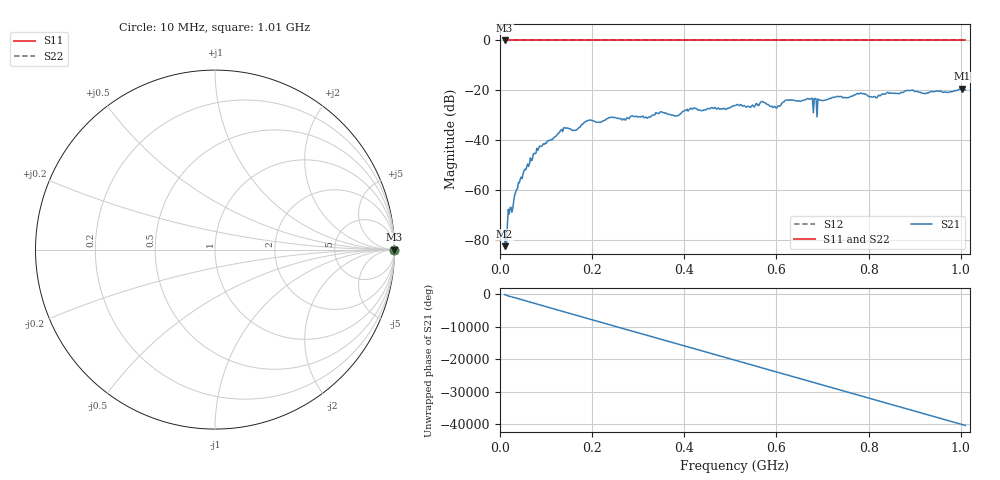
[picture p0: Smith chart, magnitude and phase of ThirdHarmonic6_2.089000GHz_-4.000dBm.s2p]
! 8/17/2025 1:00:07 AM
! C:\ANRITSUVNA\TEMP\TEMP.S2P
! CHANNEL.1
! TR.MEASUREMENT
! RAW.DATA
! RF.CORRECTION.OFF
! AVERAGING.OFF
! IF.BANDWIDTH: 5KHZ
! SWEEPTYPE:  FREQ.SWEEP(Linear)
! Reference Plane Port Info
! PORT:  PORT1  PORT2
! DISTANCE:  0  m  0  m
! TIME:  0  s  0  s
! PHASE.OFFSET:  0  deg.  0  deg.
! LOSS:  0  dB  0  dB
! REF.LOSS:  0  dB  0  dB
! REF.FREQ:  0  Hz  0  Hz
! Power Info
! POWER:  -20  dBm  -20  dBm
! EFF.POWER:  -20  dBm  -20  dBm
! SOURCE.ATTEN:  0  dB  0  dB
! TEST.ATTEN:  0  dB  0  dB
# GHZ S RI R 50.0
! FREQ.GHZ  S11RE  S11IM  S21RE  S21IM  S12RE  S12IM  S22RE  S22IM
!; PortSelection: Port_12
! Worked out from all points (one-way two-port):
!   501 points, 10 MHz to 1.01 GHz, reference 50 ohm
!   highest |S21| = -19.41 dB at 1.002 GHz (marker M1); lowest = -82.6 dB at 10 MHz (marker M2)
!   lowest |S11| = 0.0 dB at 10 MHz (marker M3)
!   |S11| at or under -10 dB: nowhere
!   |S22| runs from 0.0 to 0.0 dB; largest |S21 - S12| = 1.1
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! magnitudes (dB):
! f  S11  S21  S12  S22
! 10 MHz  0.0  -82.6  0.0  0.0
! 20 MHz  0.0  -69.7  0.0  0.0
! 28 MHz  0.0  -67.1  0.0  0.0
! 36 MHz  0.0  -59.8  0.0  0.0
! 76 MHz  0.0  -45.5  0.0  0.0
! 136 MHz  0.0  -36.6  0.0  0.0
! 162 MHz  0.0  -36.0  0.0  0.0
! 178 MHz  0.0  -33.7  0.0  0.0
! 344 MHz  0.0  -29.3  0.0  0.0
! 384 MHz  0.0  -30.2  0.0  0.0
! 418 MHz  0.0  -27.6  0.0  0.0
! 510 MHz  0.0  -26.1  0.0  0.0
! 570 MHz  0.0  -24.5  0.0  0.0
! 596 MHz  0.0  -26.4  0.0  0.0
! 624 MHz  0.0  -23.9  0.0  0.0
! 678 MHz  0.0  -23.3  0.0  0.0
! 684 MHz  0.0  -23.3  0.0  0.0
! 694 MHz  0.0  -23.9  0.0  0.0
! 730 MHz  0.0  -22.6  0.0  0.0
! 844 MHz  0.0  -21.1  0.0  0.0
! 1.002 GHz  0.0  -19.4  0.0  0.0
! 1.01 GHz  0.0  -19.9  0.0  0.0
